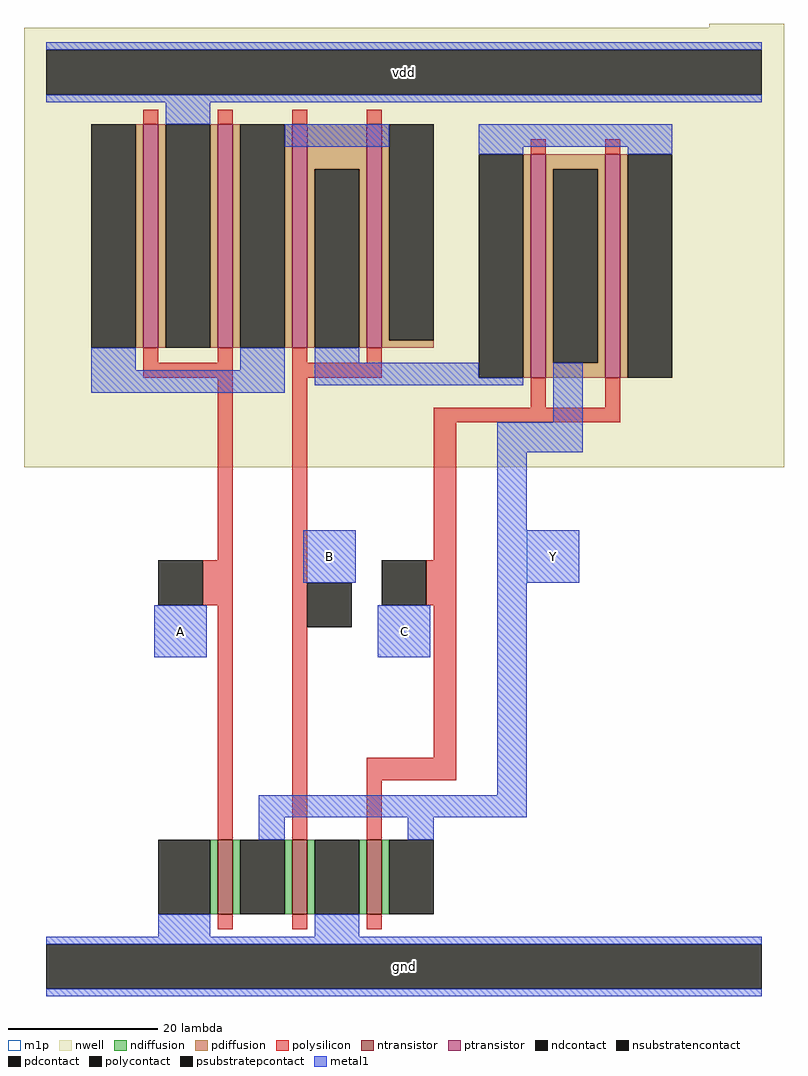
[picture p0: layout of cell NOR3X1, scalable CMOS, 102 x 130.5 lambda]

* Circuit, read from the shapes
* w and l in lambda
.subckt NOR3X1 A B C Y vdd gnd
M1 Y A gnd gnd nfet w=10 l=2
M2 gnd B Y gnd nfet w=10 l=2
M3 Y C gnd gnd nfet w=10 l=2
M4 vdd A n1 vdd pfet w=30 l=2 m=2
M5 n2 B n1 vdd pfet w=30 l=2 m=2
M6 Y C n2 vdd pfet w=30 l=2 m=2
.ends

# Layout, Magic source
magic
tech scmos
magscale 1 2
<< nwell >>
rect 172 252 192 253
rect -12 134 192 252
<< ntransistor >>
rect 40 14 44 34
rect 60 14 64 34
rect 80 14 84 34
<< ptransistor >>
rect 20 166 24 226
rect 40 166 44 226
rect 60 166 64 226
rect 80 166 84 226
rect 124 158 128 218
rect 144 158 148 218
<< ndiffusion >>
rect 38 14 40 34
rect 44 14 46 34
rect 58 14 60 34
rect 64 14 66 34
rect 78 14 80 34
rect 84 14 86 34
<< pdiffusion >>
rect 18 166 20 226
rect 24 166 26 226
rect 38 166 40 226
rect 44 166 46 226
rect 58 166 60 226
rect 64 214 80 226
rect 64 166 66 214
rect 78 166 80 214
rect 84 168 86 226
rect 84 166 98 168
rect 122 158 124 218
rect 128 214 144 218
rect 128 162 130 214
rect 142 162 144 214
rect 128 158 144 162
rect 148 158 150 218
<< ndcontact >>
rect 24 14 38 34
rect 46 14 58 34
rect 66 14 78 34
rect 86 14 98 34
<< pdcontact >>
rect 6 166 18 226
rect 26 166 38 226
rect 46 166 58 226
rect 66 166 78 214
rect 86 168 98 226
rect 110 158 122 218
rect 130 162 142 214
rect 150 158 162 218
<< psubstratepcontact >>
rect -6 -6 186 6
<< nsubstratencontact >>
rect -6 234 186 246
<< polysilicon >>
rect 20 226 24 230
rect 40 226 44 230
rect 60 226 64 230
rect 80 226 84 230
rect 124 218 128 222
rect 144 218 148 222
rect 20 162 24 166
rect 40 162 44 166
rect 20 158 44 162
rect 40 109 44 158
rect 36 97 44 109
rect 40 34 44 97
rect 60 162 64 166
rect 80 162 84 166
rect 60 158 84 162
rect 60 34 64 158
rect 124 150 128 158
rect 144 150 148 158
rect 98 146 148 150
rect 98 109 104 146
rect 96 97 104 109
rect 98 56 104 97
rect 80 50 104 56
rect 80 34 84 50
rect 40 10 44 14
rect 60 10 64 14
rect 80 10 84 14
<< polycontact >>
rect 24 97 36 109
rect 64 91 76 103
rect 84 97 96 109
<< metal1 >>
rect -6 246 186 248
rect -6 232 186 234
rect 26 226 38 232
rect 58 220 86 226
rect 6 160 18 166
rect 46 160 58 166
rect 6 154 58 160
rect 110 220 162 226
rect 110 218 122 220
rect 66 162 78 166
rect 66 158 110 162
rect 150 218 162 220
rect 66 156 122 158
rect 130 146 138 162
rect 115 138 138 146
rect 115 117 123 138
rect 63 103 77 117
rect 23 83 37 97
rect 115 103 137 117
rect 83 83 97 97
rect 115 46 123 103
rect 51 40 123 46
rect 51 34 58 40
rect 91 34 98 40
rect 24 8 38 14
rect 66 8 78 14
rect -6 6 186 8
rect -6 -8 186 -6
<< m1p >>
rect 63 103 77 117
rect 123 103 137 117
rect 23 83 37 97
rect 83 83 97 97
<< labels >>
rlabel metal1 -6 -8 186 8 0 gnd
port 5 nsew ground bidirectional abutment
rlabel metal1 -6 232 186 248 0 vdd
port 4 nsew power bidirectional abutment
rlabel metal1 23 83 37 97 0 A
port 0 nsew signal input
rlabel metal1 63 103 77 117 0 B
port 1 nsew signal input
rlabel metal1 83 83 97 97 0 C
port 2 nsew signal input
rlabel metal1 123 103 137 117 0 Y
port 3 nsew signal output
<< properties >>
string FIXED_BBOX 0 0 180 240
string LEFclass CORE
string LEFsite core
string LEFsymmetry X Y
<< end >>
